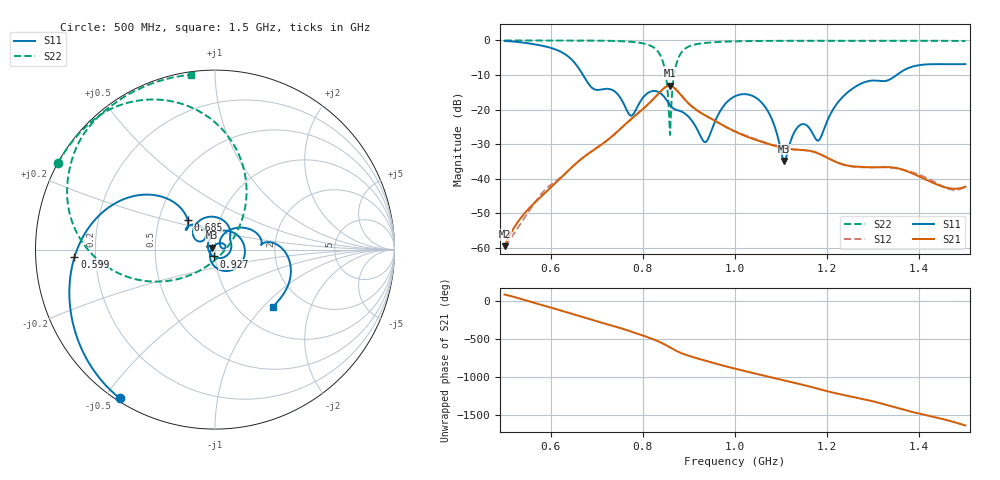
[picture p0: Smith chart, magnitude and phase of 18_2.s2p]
! TOUCHSTONE file generated by CST MICROWAVE STUDIO
! Date and time: Fri Oct  2 16:30:24 2020
! Project name: Scenario_1_Free_Space_out_of_line.cst
! Parameters = {Lambda=346.42; Step_1=17.321; dy1=52.843; dx1=346; L_HA=400; MT=2.54; Rad_Dielectric=30; Rad_Lower=7.3; Rad_Upper=30; a_HA=580; a_WG=246; b_HA=500; b_WG=121; c_HA=0; c_WG=187; d_feed=85; h_feed=15; h_lower=18; h_upper=40}
! Header version: 2018
! Port assignment regex: !\s*Touchstone port\s*([0-9]+)\s*=\s*(CST MWS port|CST DS port)\s*([0-9]+|Zmin|Zmax)\s*\(\"(.*)\"\)(\s*mode\s*([0-9]+))?.*
! Touchstone port assignment:
! Touchstone port 1 = CST MWS port 1 ("")
! Touchstone port 2 = CST MWS port 2 ("")
# GHz S DB R 50
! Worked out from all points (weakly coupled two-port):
!   1003 points, 500 MHz to 1.5 GHz, reference 50 ohm
!   highest |S21| = -13.10 dB at 858 MHz (marker M1); lowest = -59.5 dB at 500 MHz (marker M2)
!   lowest |S11| = -34.8 dB at 1.107 GHz (marker M3), VSWR 1.04, Z = 48.5 + j1.03 ohm
!   |S11| at or under -10 dB: 670.2 MHz to 1.35 GHz (680.2 MHz wide, 67.3 % of centre)
!   |S22| runs from -27.3 to 0.0 dB; largest |S21 - S12| = 0.0013
!   S11 on the Smith chart (normalised r, x): 500 MHz: 0.01, -0.55; 599 MHz: 0.12, -0.03; 685 MHz: 0.70, +0.24; 927 MHz: 0.98, -0.08; 1.5 GHz: 1.42, -1.14
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0.5  -0.14 -122.7  -59.46 79.8  -59.31 79.5  -0.01 151.1
0.599  -2.11 -176.9  -42.64 -89.9  -41.85 -92.1  -0.02 144.1
0.638  -4.63 151.8  -37.61 -158.4  -37.72 -158.2  -0.03 140.9
0.667  -9.30 130.7  -34.20 148.2  -34.19 148.4  -0.04 138.2
0.685  -13.03 133.1  -32.42 115.0  -32.44 114.8  -0.06 136.4
0.738  -14.65 131.0  -27.17 22.8  -27.12 22.9  -0.15 129.3
0.774  -21.75 136.1  -22.80 -45.3  -22.80 -45.0  -0.39 121.7
0.834  -14.91 86.4  -15.35 -176.5  -15.37 -176.4  -3.42 86.9
0.847  -16.41 60.4  -13.69 145.3  -13.68 145.4  -7.92 64.2
0.858  -18.51 43.9  -13.10 107.8  -13.09 107.8  -25.67 -7.7
0.879  -20.31 21.2  -15.23 41.3  -15.23 41.4  -4.55 -169.5
0.927  -28.13 -101.4  -21.01 -54.4  -21.04 -54.0  -0.85 154.8
0.939  -29.03 -169.6  -21.94 -75.3  -21.94 -74.9  -0.68 151.3
1  -16.13 22.2  -26.31 -174.5  -26.27 -174.2  -0.26 140.1
1.062  -18.62 -75.6  -29.48 95.0  -29.37 93.7  -0.15 133.0
1.107  -34.81 144.1  -31.11 31.8  -31.12 32.3  -0.11 128.9
1.138  -24.79 33.7  -31.60 -11.9  -31.59 -11.9  -0.11 126.3
1.167  -26.51 6.5  -32.05 -58.3  -32.05 -59.0  -0.11 124.0
1.183  -28.71 38.4  -32.78 -85.1  -32.74 -86.0  -0.10 122.8
1.257  -13.75 36.1  -36.40 173.4  -36.52 174.8  -0.08 117.1
1.334  -11.41 7.5  -36.63 59.7  -36.69 59.3  -0.09 111.3
1.5  -6.84 -44.7  -42.28 159.3  -42.29 159.0  -0.15 97.8
